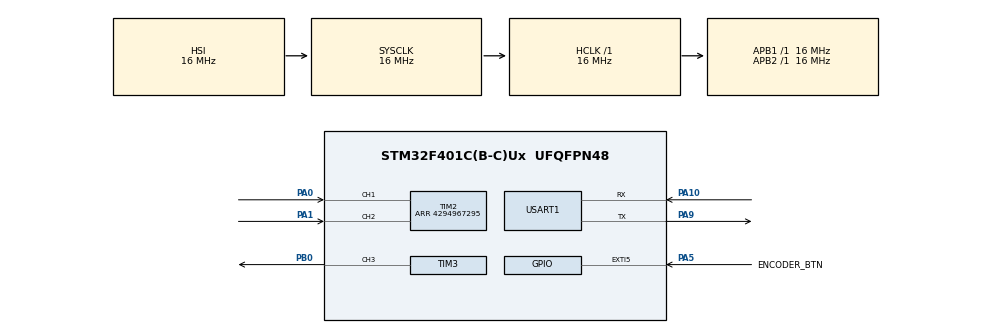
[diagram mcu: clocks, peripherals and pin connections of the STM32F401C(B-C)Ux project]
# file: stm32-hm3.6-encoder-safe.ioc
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Mcu.Family=STM32F4
Mcu.Name=STM32F401C(B-C)Ux
Mcu.Package=UFQFPN48
NVIC.EXTI9_5_IRQn=true\:0\:0\:false\:false\:true\:true\:true\:true
NVIC.PriorityGroup=NVIC_PRIORITYGROUP_4
NVIC.TIM2_IRQn=true\:0\:0\:false\:false\:true\:true\:true\:true
NVIC.TIM4_IRQn=true\:0\:0\:false\:false\:true\:true\:true\:true
PA0-WKUP.GPIO_PuPd=GPIO_PULLUP
PA0-WKUP.Signal=S_TIM2_CH1_ETR
PA1.GPIO_PuPd=GPIO_PULLUP
PA1.Signal=S_TIM2_CH2
PA10.Mode=Asynchronous
PA10.Signal=USART1_RX
PA5.GPIO_Label=ENCODER_BTN
PA5.GPIO_PuPd=GPIO_PULLUP
PA5.Signal=GPXTI5
PA9.Mode=Asynchronous
PA9.Signal=USART1_TX
PB0.Signal=S_TIM3_CH3
ProjectManager.HeapSize=0x200
ProjectManager.StackSize=0x400
ProjectManager.TargetToolchain=STM32CubeIDE
RCC.AHBFreq_Value=16000000
RCC.APB1Freq_Value=16000000
RCC.APB2Freq_Value=16000000
RCC.CortexFreq_Value=16000000
RCC.HSE_VALUE=25000000
RCC.HSI_VALUE=16000000
RCC.LSE_VALUE=32768
RCC.SYSCLKFreq_VALUE=16000000
RCC.VCOOutputFreq_Value=192000000
SH.S_TIM2_CH1_ETR.0=TIM2_CH1,Encoder_Interface
SH.S_TIM2_CH2.0=TIM2_CH2,Encoder_Interface
SH.S_TIM3_CH3.0=TIM3_CH3,PWM Generation3 CH3
TIM2.ClockDivision=TIM_CLOCKDIVISION_DIV1
TIM2.IC1Filter=15
TIM2.IC2Filter=15
TIM2.Period=4294967295
TIM3.Channel-PWM\ Generation3\ CH3=TIM_CHANNEL_3
TIM3.Period=999
TIM3.Prescaler=15
TIM4.Period=9
TIM4.Prescaler=15999
USART1.VirtualMode=VM_ASYNC
VP_TIM4_VS_ClockSourceINT.Mode=Internal
board=custom

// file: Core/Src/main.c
/* USER CODE BEGIN Header */
/**
  ******************************************************************************
  * @file           : main.c
  * @brief          : Main program body
  ******************************************************************************
  * @attention
  *
  * Copyright (c) 2026 STMicroelectronics.
  * All rights reserved.
  *
  * This software is licensed under terms that can be found in the LICENSE file
  * in the root directory of this software component.
  * If no LICENSE file comes with this software, it is provided AS-IS.
  *
  ******************************************************************************
  */
/* USER CODE END Header */
#include "main.h"

/* USER CODE BEGIN Includes */
#include "app.h"
#include "buzzer_sound.h"
#include <stdio.h>
/* USER CODE END Includes */

TIM_HandleTypeDef htim2;
TIM_HandleTypeDef htim3;
TIM_HandleTypeDef htim4;

UART_HandleTypeDef huart1;

void SystemClock_Config(void);
static void MX_GPIO_Init(void);
static void MX_USART1_UART_Init(void);
static void MX_TIM2_Init(void);
static void MX_TIM3_Init(void);
static void MX_TIM4_Init(void);

/* USER CODE BEGIN 0 */
int __io_putchar(int ch) {
    HAL_UART_Transmit(&huart1, (uint8_t *)&ch, 1, 0xFFFF);
    return ch;
}
/* USER CODE END 0 */

int main(void)
{

  /* MCU Configuration--------------------------------------------------------*/

  /* Reset of all peripherals, Initializes the Flash interface and the Systick. */
  HAL_Init();

  /* Configure the system clock */
  SystemClock_Config();

  /* Initialize all configured peripherals */
  MX_GPIO_Init();
  MX_USART1_UART_Init();
  MX_TIM2_Init();
  MX_TIM3_Init();
  MX_TIM4_Init();
  /* USER CODE BEGIN 2 */

  app_setup();
  buzzer_setup();

  /* USER CODE END 2 */

  /* Infinite loop */
  /* USER CODE BEGIN WHILE */

  while (1)
  {
      app_loop();
    /* USER CODE END WHILE */

  }
}

void SystemClock_Config(void)
{
  RCC_OscInitTypeDef RCC_OscInitStruct = {0};
  RCC_ClkInitTypeDef RCC_ClkInitStruct = {0};

  /** Configure the main internal regulator output voltage
  */
  __HAL_RCC_PWR_CLK_ENABLE();
  __HAL_PWR_VOLTAGESCALING_CONFIG(PWR_REGULATOR_VOLTAGE_SCALE2);

  /** Initializes the RCC Oscillators according to the specified parameters
  * in the RCC_OscInitTypeDef structure.
  */
  RCC_OscInitStruct.OscillatorType = RCC_OSCILLATORTYPE_HSI;
  RCC_OscInitStruct.HSIState = RCC_HSI_ON;
  RCC_OscInitStruct.HSICalibrationValue = RCC_HSICALIBRATION_DEFAULT;
  RCC_OscInitStruct.PLL.PLLState = RCC_PLL_NONE;
  if (HAL_RCC_OscConfig(&RCC_OscInitStruct) != HAL_OK)
  {
    Error_Handler();
  }

  /** Initializes the CPU, AHB and APB buses clocks
  */
  RCC_ClkInitStruct.ClockType = RCC_CLOCKTYPE_HCLK|RCC_CLOCKTYPE_SYSCLK
                              |RCC_CLOCKTYPE_PCLK1|RCC_CLOCKTYPE_PCLK2;
  RCC_ClkInitStruct.SYSCLKSource = RCC_SYSCLKSOURCE_HSI;
  RCC_ClkInitStruct.AHBCLKDivider = RCC_SYSCLK_DIV1;
  RCC_ClkInitStruct.APB1CLKDivider = RCC_HCLK_DIV1;
  RCC_ClkInitStruct.APB2CLKDivider = RCC_HCLK_DIV1;

  if (HAL_RCC_ClockConfig(&RCC_ClkInitStruct, FLASH_LATENCY_0) != HAL_OK)
  {
    Error_Handler();
  }
}

static void MX_TIM2_Init(void)
{

  TIM_Encoder_InitTypeDef sConfig = {0};
  TIM_MasterConfigTypeDef sMasterConfig = {0};

  htim2.Instance = TIM2;
  htim2.Init.Prescaler = 0;
  htim2.Init.CounterMode = TIM_COUNTERMODE_UP;
  htim2.Init.Period = 4294967295;
  htim2.Init.ClockDivision = TIM_CLOCKDIVISION_DIV1;
  htim2.Init.AutoReloadPreload = TIM_AUTORELOAD_PRELOAD_DISABLE;
  sConfig.EncoderMode = TIM_ENCODERMODE_TI1;
  sConfig.IC1Polarity = TIM_ICPOLARITY_RISING;
  sConfig.IC1Selection = TIM_ICSELECTION_DIRECTTI;
  sConfig.IC1Prescaler = TIM_ICPSC_DIV1;
  sConfig.IC1Filter = 15;
  sConfig.IC2Polarity = TIM_ICPOLARITY_RISING;
  sConfig.IC2Selection = TIM_ICSELECTION_DIRECTTI;
  sConfig.IC2Prescaler = TIM_ICPSC_DIV1;
  sConfig.IC2Filter = 15;
  if (HAL_TIM_Encoder_Init(&htim2, &sConfig) != HAL_OK)
  {
    Error_Handler();
  }
  sMasterConfig.MasterOutputTrigger = TIM_TRGO_RESET;
  sMasterConfig.MasterSlaveMode = TIM_MASTERSLAVEMODE_DISABLE;
  if (HAL_TIMEx_MasterConfigSynchronization(&htim2, &sMasterConfig) != HAL_OK)
  {
    Error_Handler();
  }

}

static void MX_TIM3_Init(void)
{

  TIM_MasterConfigTypeDef sMasterConfig = {0};
  TIM_OC_InitTypeDef sConfigOC = {0};

  htim3.Instance = TIM3;
  htim3.Init.Prescaler = 15;
  htim3.Init.CounterMode = TIM_COUNTERMODE_UP;
  htim3.Init.Period = 999;
  htim3.Init.ClockDivision = TIM_CLOCKDIVISION_DIV1;
  htim3.Init.AutoReloadPreload = TIM_AUTORELOAD_PRELOAD_DISABLE;
  if (HAL_TIM_PWM_Init(&htim3) != HAL_OK)
  {
    Error_Handler();
  }
  sMasterConfig.MasterOutputTrigger = TIM_TRGO_RESET;
  sMasterConfig.MasterSlaveMode = TIM_MASTERSLAVEMODE_DISABLE;
  if (HAL_TIMEx_MasterConfigSynchronization(&htim3, &sMasterConfig) != HAL_OK)
  {
    Error_Handler();
  }
  sConfigOC.OCMode = TIM_OCMODE_PWM1;
  sConfigOC.Pulse = 0;
  sConfigOC.OCPolarity = TIM_OCPOLARITY_HIGH;
  sConfigOC.OCFastMode = TIM_OCFAST_DISABLE;
  if (HAL_TIM_PWM_ConfigChannel(&htim3, &sConfigOC, TIM_CHANNEL_3) != HAL_OK)
  {
    Error_Handler();
  }
  HAL_TIM_MspPostInit(&htim3);

}

static void MX_TIM4_Init(void)
{

  TIM_ClockConfigTypeDef sClockSourceConfig = {0};
  TIM_MasterConfigTypeDef sMasterConfig = {0};

  htim4.Instance = TIM4;
  htim4.Init.Prescaler = 15999;
  htim4.Init.CounterMode = TIM_COUNTERMODE_UP;
  htim4.Init.Period = 9;
  htim4.Init.ClockDivision = TIM_CLOCKDIVISION_DIV1;
  htim4.Init.AutoReloadPreload = TIM_AUTORELOAD_PRELOAD_DISABLE;
  if (HAL_TIM_Base_Init(&htim4) != HAL_OK)
  {
    Error_Handler();
  }
  sClockSourceConfig.ClockSource = TIM_CLOCKSOURCE_INTERNAL;
  if (HAL_TIM_ConfigClockSource(&htim4, &sClockSourceConfig) != HAL_OK)
  {
    Error_Handler();
  }
  sMasterConfig.MasterOutputTrigger = TIM_TRGO_RESET;
  sMasterConfig.MasterSlaveMode = TIM_MASTERSLAVEMODE_DISABLE;
  if (HAL_TIMEx_MasterConfigSynchronization(&htim4, &sMasterConfig) != HAL_OK)
  {
    Error_Handler();
  }

}

static void MX_USART1_UART_Init(void)
{

  huart1.Instance = USART1;
  huart1.Init.BaudRate = 115200;
  huart1.Init.WordLength = UART_WORDLENGTH_8B;
  huart1.Init.StopBits = UART_STOPBITS_1;
  huart1.Init.Parity = UART_PARITY_NONE;
  huart1.Init.Mode = UART_MODE_TX_RX;
  huart1.Init.HwFlowCtl = UART_HWCONTROL_NONE;
  huart1.Init.OverSampling = UART_OVERSAMPLING_16;
  if (HAL_UART_Init(&huart1) != HAL_OK)
  {
    Error_Handler();
  }

}

static void MX_GPIO_Init(void)
{
  GPIO_InitTypeDef GPIO_InitStruct = {0};

  /* GPIO Ports Clock Enable */
  __HAL_RCC_GPIOA_CLK_ENABLE();
  __HAL_RCC_GPIOB_CLK_ENABLE();

  /*Configure GPIO pin : ENCODER_BTN_Pin */
  GPIO_InitStruct.Pin = ENCODER_BTN_Pin;
  GPIO_InitStruct.Mode = GPIO_MODE_IT_RISING;
  GPIO_InitStruct.Pull = GPIO_PULLUP;
  HAL_GPIO_Init(ENCODER_BTN_GPIO_Port, &GPIO_InitStruct);

  /* EXTI interrupt init*/
  HAL_NVIC_SetPriority(EXTI9_5_IRQn, 0, 0);
  HAL_NVIC_EnableIRQ(EXTI9_5_IRQn);

}

/* USER CODE BEGIN 4 */

void HAL_TIM_IC_CaptureCallback(TIM_HandleTypeDef *htim)
{
    if (htim->Instance == ENCODER_TIMER.Instance) {
        app_isr_counter_callback();
    }
}

void HAL_GPIO_EXTI_Callback(uint16_t GPIO_Pin)
{
    if (GPIO_Pin == ENCODER_BTN_Pin) {
        app_isr_button_callback();
    }
}

void HAL_TIM_PeriodElapsedCallback(TIM_HandleTypeDef *htim)
{
    if (htim->Instance == BUZZER_TIMER.Instance) {
        buzzer_periodElapsed_callback();
    }
}

/* USER CODE END 4 */

void Error_Handler(void)
{
  __disable_irq();
  while (1)
  {
  }
}
